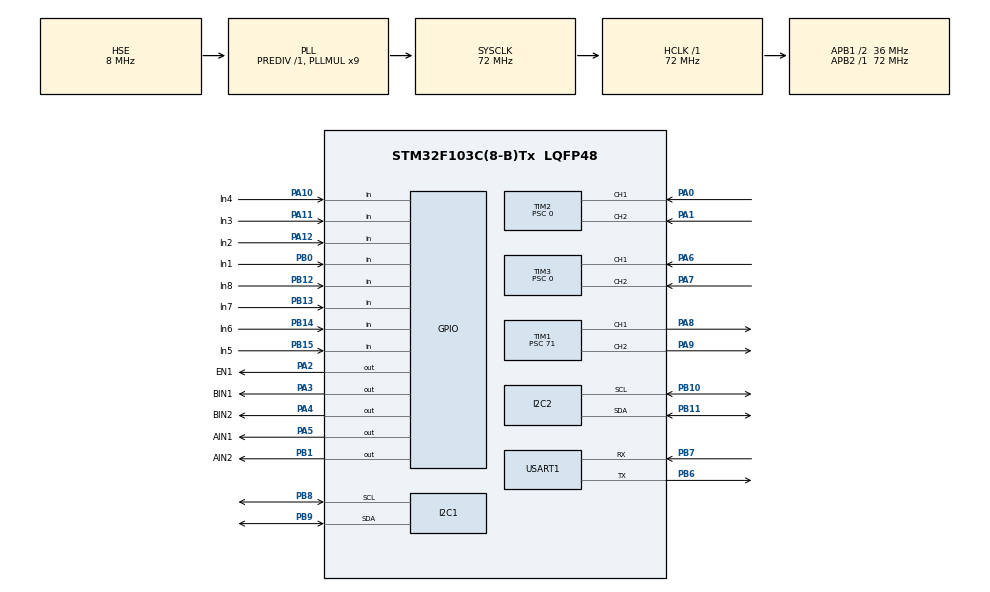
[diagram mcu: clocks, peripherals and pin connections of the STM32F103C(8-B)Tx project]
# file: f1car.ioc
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Mcu.Family=STM32F1
Mcu.Name=STM32F103C(8-B)Tx
Mcu.Package=LQFP48
NVIC.PriorityGroup=NVIC_PRIORITYGROUP_4
NVIC.TIM4_IRQn=true\:0\:0\:false\:false\:true\:true\:true\:true
PA0-WKUP.Signal=S_TIM2_CH1_ETR
PA1.Signal=S_TIM2_CH2
PA10.GPIO_Label=In4
PA10.GPIO_PuPd=GPIO_PULLUP
PA10.Signal=GPIO_Input
PA11.GPIO_Label=In3
PA11.GPIO_PuPd=GPIO_PULLUP
PA11.Signal=GPIO_Input
PA12.GPIO_Label=In2
PA12.GPIO_PuPd=GPIO_PULLUP
PA12.Signal=GPIO_Input
PA13.Mode=Serial_Wire
PA13.Signal=SYS_JTMS-SWDIO
PA14.Mode=Serial_Wire
PA14.Signal=SYS_JTCK-SWCLK
PA2.GPIO_Label=EN1
PA2.GPIO_PuPd=GPIO_PULLDOWN
PA2.Signal=GPIO_Output
PA3.GPIO_Label=BIN1
PA3.Signal=GPIO_Output
PA4.GPIO_Label=BIN2
PA4.Signal=GPIO_Output
PA5.GPIO_Label=AIN1
PA5.Signal=GPIO_Output
PA6.Signal=S_TIM3_CH1
PA7.Signal=S_TIM3_CH2
PA8.Signal=S_TIM1_CH1
PA9.Signal=S_TIM1_CH2
PB0.GPIO_Label=In1
PB0.GPIO_PuPd=GPIO_PULLUP
PB0.Signal=GPIO_Input
PB1.GPIO_Label=AIN2
PB1.Signal=GPIO_Output
PB10.Mode=I2C
PB10.Signal=I2C2_SCL
PB11.Mode=I2C
PB11.Signal=I2C2_SDA
PB12.GPIO_Label=In8
PB12.GPIO_PuPd=GPIO_PULLUP
PB12.Signal=GPIO_Input
PB13.GPIO_Label=In7
PB13.GPIO_PuPd=GPIO_PULLUP
PB13.Signal=GPIO_Input
PB14.GPIO_Label=In6
PB14.GPIO_PuPd=GPIO_PULLUP
PB14.Signal=GPIO_Input
PB15.GPIO_Label=In5
PB15.GPIO_PuPd=GPIO_PULLUP
PB15.Signal=GPIO_Input
PB6.Mode=Asynchronous
PB6.Signal=USART1_TX
PB7.Mode=Asynchronous
PB7.Signal=USART1_RX
PB8.Mode=I2C
PB8.Signal=I2C1_SCL
PB9.Mode=I2C
PB9.Signal=I2C1_SDA
PD0-OSC_IN.Mode=HSE-External-Oscillator
PD0-OSC_IN.Signal=RCC_OSC_IN
PD1-OSC_OUT.Mode=HSE-External-Oscillator
PD1-OSC_OUT.Signal=RCC_OSC_OUT
ProjectManager.HeapSize=0x200
ProjectManager.StackSize=0x400
ProjectManager.TargetToolchain=MDK-ARM V5.32
RCC.AHBFreq_Value=72000000
RCC.APB1CLKDivider=RCC_HCLK_DIV2
RCC.APB1Freq_Value=36000000
RCC.APB1TimFreq_Value=72000000
RCC.APB2Freq_Value=72000000
RCC.APB2TimFreq_Value=72000000
RCC.HCLKFreq_Value=72000000
RCC.PLLMUL=RCC_PLL_MUL9
RCC.PLLSourceVirtual=RCC_PLLSOURCE_HSE
RCC.SYSCLKFreq_VALUE=72000000
RCC.SYSCLKSource=RCC_SYSCLKSOURCE_PLLCLK
RCC.USBFreq_Value=72000000
SH.S_TIM1_CH1.0=TIM1_CH1,PWM Generation1 CH1
SH.S_TIM1_CH2.0=TIM1_CH2,PWM Generation2 CH2
SH.S_TIM2_CH1_ETR.0=TIM2_CH1,Encoder_Interface
SH.S_TIM2_CH2.0=TIM2_CH2,Encoder_Interface
SH.S_TIM3_CH1.0=TIM3_CH1,Encoder_Interface
SH.S_TIM3_CH2.0=TIM3_CH2,Encoder_Interface
TIM1.AutoReloadPreload=TIM_AUTORELOAD_PRELOAD_ENABLE
TIM1.Channel-PWM\ Generation1\ CH1=TIM_CHANNEL_1
TIM1.Channel-PWM\ Generation2\ CH2=TIM_CHANNEL_2
TIM1.Period=1000
TIM1.Prescaler=71
TIM2.AutoReloadPreload=TIM_AUTORELOAD_PRELOAD_ENABLE
TIM2.EncoderMode=TIM_ENCODERMODE_TI12
TIM2.IC1Filter=10
TIM2.IC2Filter=10
TIM2.IC2Polarity=TIM_ICPOLARITY_FALLING
TIM2.Prescaler=0
TIM3.AutoReloadPreload=TIM_AUTORELOAD_PRELOAD_ENABLE
TIM3.EncoderMode=TIM_ENCODERMODE_TI12
TIM3.IC1Filter=10
TIM3.IC2Filter=10
TIM3.IC2Polarity=TIM_ICPOLARITY_FALLING
TIM3.Prescaler=0
TIM4.AutoReloadPreload=TIM_AUTORELOAD_PRELOAD_ENABLE
TIM4.Period=10000
TIM4.Prescaler=71
USART1.VirtualMode=VM_ASYNC
VP_TIM1_VS_ClockSourceINT.Mode=Internal
VP_TIM4_VS_ClockSourceINT.Mode=Internal
board=custom

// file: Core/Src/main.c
/* USER CODE BEGIN Header */
/**
  ******************************************************************************
  * @file           : main.c
  * @brief          : Main program body
  ******************************************************************************
  * @attention
  *
  * Copyright (c) 2026 STMicroelectronics.
  * All rights reserved.
  *
  * This software is licensed under terms that can be found in the LICENSE file
  * in the root directory of this software component.
  * If no LICENSE file comes with this software, it is provided AS-IS.
  *
  ******************************************************************************
  */
/* USER CODE END Header */
#include "main.h"
#include "i2c.h"
#include "tim.h"
#include "usart.h"
#include "gpio.h"

/* USER CODE BEGIN Includes */
#include "math.h"
#include "stdio.h"
#include "string.h"
/* USER CODE END Includes */

/* USER CODE BEGIN PTD */
typedef struct {
    uint16_t current_count;
    uint16_t last_count;
    int32_t pulse_diff;      //()这个是 可能为负数，所以用int32_t
    float speed_m_s_new;
    float speed_m_s_Filtered;
} EncoderData;

EncoderData Encode_speed_left;
EncoderData Encode_speed_right;

typedef struct {
		uint8_t r_f;
		uint8_t l_r;
		uint16_t target_speed;
}MOTOR;

MOTOR motor;

typedef struct {
    // --- 参数 (需要初始化) ---
    float Kp;           // 比例系数
    float Ki;           // 积分系数
    float Kd;           // 微分系数

    float limit_max;    // 输出最大限幅 (如: 100或PWM最大值)
    float limit_min;    // 输出最小限幅 (如: -100或0)

    float dead_zone;    // 死区阈值 (误差在这个范围内视为0)
    float integral_max; // 积分限幅 (防积分饱和 Anti-windup)

    // --- 状态 (运行时变化) ---
    float prev_error;   // 上一次的误差
    float integral;     // 累积积分值

} PID_Handle;

PID_Handle motor_pid_left;
PID_Handle motor_pid_right;
PID_Handle motor_sensor_pid;

// 定义传感器引脚结构体，方便修改
typedef struct {
    GPIO_TypeDef* port;
    uint16_t pin;
} SensorPin;

// 这里填入你实际的引脚连接，从左(Sensor 0)到右(Sensor 7)
// 例如：Sensor 0 接 PA0, Sensor 1 接 PB5 ...
SensorPin sensors[8] = {
    {GPIOB, GPIO_PIN_12}, // Sensor 1 (最右)
    {GPIOB, GPIO_PIN_13}, // Sensor 2
    {GPIOB, GPIO_PIN_14}, // Sensor 3
    {GPIOB, GPIO_PIN_15}, // Sensor 4
    {GPIOA, GPIO_PIN_10}, // Sensor 5
    {GPIOA, GPIO_PIN_11}, // Sensor 6
    {GPIOA, GPIO_PIN_12}, // Sensor 7
    {GPIOB, GPIO_PIN_0}  // Sensor 8 (最左)
};
/* USER CODE END PTD */

/* USER CODE BEGIN PD */
// 定义参数 (可以根据实际情况微调)
#define MAX_SPEED       0.25f   // 直道最快速度 (可以稍微快点)
#define MIN_SPEED       0.20f   // 弯道最慢速度 (一定要够慢，保证能转过来)
#define BRAKE_SENSITIVITY 0.8f  // 刹车灵敏度：数值越大，转弯时减速越狠 (建议 0.8 ~ 1.5)

#define PI 3.14159265358979323846

/*****************/
// 电机参数
#define ENCODER_LINES    13      // 编码器线数
#define GEAR_RATIO       20      // 减速比是20
#define FILTER_ALPHA     0.2f // 滤波系数
#define ENCODER_MODE    4.0f    // 你现在用的是2倍频

/*****************/
// 轮子半径 (mm)
#define WHEEL_RADIUS    24.0f
// 一圈车轮的总脉冲数 (理论值)
// 公式: 13 * 20 * 4 = 1040
#define COUNTS_PER_REV  (ENCODER_LINES * GEAR_RATIO * ENCODER_MODE)
// 采样时间 (秒) - 对应你的 10ms 中断
#define DT              0.01f
/*****************/
//电机最快速度为0~0.8米每秒
//但是我的电机转一圈要40个数，编码器模式下滤波13。要40个数才能转一圈，记录一下以防忘记
//还有循迹模块读取黑线是低电平
/*****************/
/* USER CODE END PD */

/* USER CODE BEGIN PV */

// 串口发送缓冲区
char tx_buffer[64];
float a,b,c,d;

uint16_t cnt_2 = 0;
uint32_t cnt_3 = 0;

volatile float speed_right;
volatile float speed_left;

//float base_speed_target = 0.3f; // 目标速度 (m/s)
//float motor_target_speed = 0.4f; // 电机目标速度 (m/s)

float track_error = 0;// 循迹偏差值
float turn_output = 0;// 转向 PID 输出

float last_valid_error = 0.0f; // 上一次有效的循迹偏差值
/* USER CODE END PV */

void SystemClock_Config(void);
/* USER CODE BEGIN PFP */
void set_motor(uint8_t l_r,uint8_t r_f,uint16_t motor_speed);
void ALL_Init(void);
float PID_Compute(PID_Handle *pid, float target, float measured);
/* USER CODE END PFP */

/* USER CODE BEGIN 0 */
void Send_Encoder_Data(void)
{
    int len = sprintf(tx_buffer, "%f,%f\n",a,b);//sprintf的返回值是int类型，返回字节数

    // ✅ 使用非阻塞发送，或设置合理的超时
    HAL_UART_Transmit(&huart1, (uint8_t*)tx_buffer, len, 100);
}
// void motor_left(uint16_t target,uint32_t encode_speed_1,uint32_t encode_speed_2)//encode是编码器计算后的速度
// {
// 	set_motor(0,0,PID_Compute(&motor_pid,target,encode_speed_1));
// 	set_motor(1,1,PID_Compute(&motor_pid,target,encode_speed_2));
// }

/**
 * @brief 高效读取8路传感器状态
 * @return uint8_t: 8位数据，1代表黑线，0代表白地
 * Bit7对应Sensor0(左), Bit0对应Sensor7(右)
 */
uint8_t Read_8_Sensors_Fast(void) {
    uint8_t sensor_byte = 0;

    // 循环展开或直接硬编码是最高效的，为了可读性写成循环，编译器开O2优化后是一样的
    for(int i = 0; i < 8; i++) {
        // 直接读取寄存器 IDR (Input Data Register)
        // (sensors[i].port->IDR & sensors[i].pin) 用于判断引脚电平
        // 只有当 IDR & pin 结果为 0 (低电平/黑线) 时，才把这一位置 1
        // 使用 "!" 取反，或者用 "== 0"
        if ((sensors[i].port->IDR & sensors[i].pin) == 0) {
            // 如果检测到低电平(低电平是黑线)，把对应位置 1
            // 我们希望 Sensor0 对应最高位 (0x80)，Sensor7 对应最低位 (0x01)
            sensor_byte |= (1 << (7 - i));
        }
    }
    return sensor_byte;
}

/**
 * @brief 计算循迹偏差值
 * @param sensor_data: 8位数据，每一位代表一个传感器状态 (0或1)
 * @return float: 偏差值 Error，范围在 -4.0 到 4.0 之间。0 表示正中心。
 */
float Get_Track_Error(uint8_t sensor_data) {
    // 传感器权重数组：从左到右
    float weights[8] = {-4.0f, -3.0f, -2.0f, -1.0f, 1.0f, 2.0f, 3.0f, 4.0f};

    float sum_weighted_values = 0;
    int active_count = 0;

    for (int i = 0; i < 8; i++) {
        // 检查第 i 位是否为 1 (假设 sensor_data 从高位到低位对应从左到右)
        if ((sensor_data >> (7 - i)) & 0x01) {
            sum_weighted_values += weights[i];
            active_count++;
        }
    }

		// 特殊处理：如果只有最外侧传感器触发 (假设 0x80 是左边缘，0x01 是右边缘)
    if (sensor_data == 0x80) return -6.0f; // 强制给一个超大偏差
    if (sensor_data == 0x01) return 6.0f;  // 强制给一个超大偏差

// 如果没有任何传感器检测到黑线
    if (active_count == 0) {
        // 既然是直角弯容易冲出去，说明之前的偏差已经很大了
        // 我们不仅要维持方向，还要加大力度
        if (last_valid_error > 0) return 8.0f;  // 极大值，迫使内侧轮反转
        else return -8.0f;
    }
    float current_error = sum_weighted_values / active_count;

    // 【改进】更新最后一次有效的偏差
    last_valid_error = current_error;

    return current_error;
}

// 这里的 * 表示接收的是“真身”的地址
float encode_to_speed(EncoderData *motor_encoder_x, TIM_TypeDef* TIMx)
{
    // 1. 读取当前的 CNT
    motor_encoder_x->current_count = TIMx->CNT;

    // 2. 这里的 last_count 是真身里的值，是 10ms 前保存的
    int32_t pulse_diff = (int16_t)(motor_encoder_x->current_count - motor_encoder_x->last_count);

    // 3. 计算速度 (保留你的公式逻辑)
    // 注意：把 calculation 拆开写更清晰，防止漏括号
    float distance = (float)pulse_diff / 1040.0f * (2.0f * PI * 24.0f); // mm
    motor_encoder_x->speed_m_s_new = distance / 0.01f / 1000.0f; // m/s (注意变量名虽然叫rpm但你算的是m/s)

    // 4. 【核心】更新真身的 last_count，这样下一次进来才能算对！
    motor_encoder_x->last_count = motor_encoder_x->current_count;

    // 5. 滤波
    motor_encoder_x->speed_m_s_Filtered = (motor_encoder_x->speed_m_s_new * FILTER_ALPHA) +
                                  (motor_encoder_x->speed_m_s_Filtered * (1.0f - FILTER_ALPHA));

    return motor_encoder_x->speed_m_s_Filtered;
}

/**
 * @brief 设置电机速度
 * @param l_r是选择轮子左右（1是右0是左边）
 * @param r_f是选择轮子正反转（1是正转0是反转）
 * @param motor_speed: 电机速度值 (0~1000)
 */
void set_motor(uint8_t l_r,uint8_t r_f,uint16_t motor_speed)
{
	switch(r_f)
	{
		case 1:
		{
			if(l_r == 1)//右边轮子正转
			{
			HAL_GPIO_WritePin(GPIOA,GPIO_PIN_3,GPIO_PIN_SET);
			HAL_GPIO_WritePin(GPIOA,GPIO_PIN_4,GPIO_PIN_RESET);
			}else
			{//左边轮子正转
				HAL_GPIO_WritePin(GPIOA,GPIO_PIN_5,GPIO_PIN_SET);
				HAL_GPIO_WritePin(GPIOB,GPIO_PIN_1,GPIO_PIN_RESET);
			}
		}break;
		case 0:
		{
			if(l_r == 1)//右边轮子反转
			{
			HAL_GPIO_WritePin(GPIOA,GPIO_PIN_3,GPIO_PIN_RESET);
			HAL_GPIO_WritePin(GPIOA,GPIO_PIN_4,GPIO_PIN_SET);
			}else
			{//左边轮子反转
				HAL_GPIO_WritePin(GPIOA,GPIO_PIN_5,GPIO_PIN_RESET);
				HAL_GPIO_WritePin(GPIOB,GPIO_PIN_1,GPIO_PIN_SET);
			}
		}break;
	}
	if(l_r == 1)
		__HAL_TIM_SET_COMPARE(&htim1, TIM_CHANNEL_1, motor_speed);
	else
		__HAL_TIM_SET_COMPARE(&htim1, TIM_CHANNEL_2, motor_speed);
}

void PID_Init(void)

{

/*****************************************************************************
 *                             电机 PID 参数初始化
 * *****************************************************************************/
    motor_pid_left.Kp = 1000.0f;
    motor_pid_left.Ki = 200.0f;
    motor_pid_left.Kd = 0.0f;

    motor_pid_left.limit_max = 1000.0f;   // 输出最大 +1000
    motor_pid_left.limit_min = -1000.0f;  // 输出最小 -1000
	motor_pid_left.integral_max = 5.0f;

    motor_pid_left.prev_error = 0.0f;    // 状态清零
    motor_pid_left.integral = 0.0f;
    motor_pid_right = motor_pid_left; // 右轮参数相结构体整体赋值
/*****************************************************************************
 *                              循迹 PID 参数初始化
*****************************************************************************/
    // 注意：循迹 PID 的参数通常很小，因为 error 范围是 -4 到 4，而速度微调量通常在 0.1~0.5 之间
    motor_sensor_pid.Kp = 0.1f;  // 经验值，需调试：代表偏离1个单位，一侧轮子加速0.05m/s
    motor_sensor_pid.Ki = 0.0f;  // 循迹通常不需要 I，或者给极小
    motor_sensor_pid.Kd = 0.2f;  // D大一点，为了微分先行，抑制过冲

    motor_sensor_pid.limit_max = 100.0f;  // 限制最大转向幅度，别让轮子倒转太猛  好像0.8是最大限制了是吧
    motor_sensor_pid.limit_min = -100.0f;

    motor_sensor_pid.prev_error = 0.0f;
    motor_sensor_pid.integral = 0.0f;
}

/**
 * @brief 计算 PID 输出
 * @param pid: 指向 PID_Handle 结构体的指针
 * @param target: 目标值 (Setpoint)
 * @param measured: 测量值 (Process Variable)
 * @return float: PID 输出值
 */
float PID_Compute(PID_Handle *pid, float target, float measured) {
    float output;

    // 1. 计算误差
    float error = target - measured;

    // 3. 积分项计算 (Integral) & 积分限幅 (Anti-windup)
    pid->integral += error;

    // 限制积分项的累积，防止长时间偏差导致积分过大（积分饱和）
    if (pid->integral > pid->integral_max) {
        pid->integral = pid->integral_max;
    } else if (pid->integral < -pid->integral_max) {
        pid->integral = -pid->integral_max;
    }

    // 4. 微分项计算 (Derivative)
   float derivative = error - pid->prev_error;
		// //尝试一些微分先行    这个不行
    // error = measured;
		// float derivative = error - pid->prev_error;

    // 5. PID 公式总和
    // Output = P*error + I*integral + D*(error - prev_error)
    output = (pid->Kp * error) +
             (pid->Ki * pid->integral) +
             (pid->Kd * derivative);

    // 6. 更新上一次误差
   pid->prev_error = error;
		// pid->prev_error = measured;
		//    // 7. 输出限幅 (Output Limiting)        这个也用不到，pwm输出最大也就1000
//    // 确保输出不超过执行器允许的范围
//    if (output > pid->limit_max) {
//        output = pid->limit_max;
//    } else if (output < pid->limit_min) {
//        output = pid->limit_min;
//    }

    return output;
}

void ALL_Init(void)
{
	HAL_TIM_Encoder_Start(&htim2,TIM_CHANNEL_ALL);
	HAL_TIM_Encoder_Start(&htim3,TIM_CHANNEL_ALL);

  HAL_TIM_Base_Start(&htim1);  // PWM定时器

  HAL_TIM_PWM_Start(&htim1, TIM_CHANNEL_1);//MOTOR A
	HAL_TIM_PWM_Start(&htim1, TIM_CHANNEL_2);//MOTOR B

	HAL_GPIO_WritePin(GPIOA,GPIO_PIN_2,GPIO_PIN_SET);//使能电机

  HAL_TIM_Base_Start_IT(&htim4); // 启动定时器中断，用于速度计算
}

void test_encode_speed(void)
{
    //这个抢pid的控制了
//     set_motor(0,1,1000);
//		 set_motor(1,1,1000);
    //测试的时候一个一个的测试，如果读数反了的话就把编码器的线调换一下
    // a = encode_to_speed(&Encode_speed_left,TIM3);
   a = speed_right;
		Send_Encoder_Data();
		HAL_Delay(100);
}

// 通用电机执行函数：自动处理 PID 输出的正负号
// motor_id: 0=左, 1=右
// pid_out: PID 计算出的结果 (有正负)
void Motor_Apply_PID(uint8_t motor_id, float pid_out)
{
    uint8_t direction;
    uint16_t pwm_val;
    // 1. 判断方向
    if (pid_out >= 0) {
        direction = 1; // 正转 (根据你的硬件实际情况修改 1 或 0)
        pwm_val = (uint16_t)pid_out;
    } else {
        direction = 0; // 反转
        // 取绝对值 (因为 set_motor 只认正数 PWM)
        pwm_val = (uint16_t)(-pid_out);
    }

    // 2. 驱动电机
    set_motor(motor_id, direction, pwm_val);
}
/* USER CODE END 0 */

int main(void)
{

  /* MCU Configuration--------------------------------------------------------*/

  /* Reset of all peripherals, Initializes the Flash interface and the Systick. */
  HAL_Init();

  /* Configure the system clock */
  SystemClock_Config();

  /* Initialize all configured peripherals */
  MX_GPIO_Init();
  MX_TIM1_Init();
  MX_TIM2_Init();
  MX_USART1_UART_Init();
  MX_I2C1_Init();
  MX_I2C2_Init();
  MX_TIM3_Init();
  MX_TIM4_Init();

  /* Infinite loop */
  /* USER CODE BEGIN WHILE */
	//启动编码器
	ALL_Init();
  PID_Init();
  while (1)
  {
//    a = speed_right;
//    b = speed_left;
//    test_encode_speed();
    /* USER CODE END WHILE */

  }
}

void SystemClock_Config(void)
{
  RCC_OscInitTypeDef RCC_OscInitStruct = {0};
  RCC_ClkInitTypeDef RCC_ClkInitStruct = {0};

  /** Initializes the RCC Oscillators according to the specified parameters
  * in the RCC_OscInitTypeDef structure.
  */
  RCC_OscInitStruct.OscillatorType = RCC_OSCILLATORTYPE_HSE;
  RCC_OscInitStruct.HSEState = RCC_HSE_ON;
  RCC_OscInitStruct.HSEPredivValue = RCC_HSE_PREDIV_DIV1;
  RCC_OscInitStruct.HSIState = RCC_HSI_ON;
  RCC_OscInitStruct.PLL.PLLState = RCC_PLL_ON;
  RCC_OscInitStruct.PLL.PLLSource = RCC_PLLSOURCE_HSE;
  RCC_OscInitStruct.PLL.PLLMUL = RCC_PLL_MUL9;
  if (HAL_RCC_OscConfig(&RCC_OscInitStruct) != HAL_OK)
  {
    Error_Handler();
  }

  /** Initializes the CPU, AHB and APB buses clocks
  */
  RCC_ClkInitStruct.ClockType = RCC_CLOCKTYPE_HCLK|RCC_CLOCKTYPE_SYSCLK
                              |RCC_CLOCKTYPE_PCLK1|RCC_CLOCKTYPE_PCLK2;
  RCC_ClkInitStruct.SYSCLKSource = RCC_SYSCLKSOURCE_PLLCLK;
  RCC_ClkInitStruct.AHBCLKDivider = RCC_SYSCLK_DIV1;
  RCC_ClkInitStruct.APB1CLKDivider = RCC_HCLK_DIV2;
  RCC_ClkInitStruct.APB2CLKDivider = RCC_HCLK_DIV1;

  if (HAL_RCC_ClockConfig(&RCC_ClkInitStruct, FLASH_LATENCY_2) != HAL_OK)
  {
    Error_Handler();
  }
}

/* USER CODE BEGIN 4 */
void HAL_TIM_PeriodElapsedCallback(TIM_HandleTypeDef *htim)
{
  if(htim->Instance == TIM4) // 10ms中断
  {
    // --- 1. 读取数据 ---
    speed_right = encode_to_speed(&Encode_speed_right, TIM2);
    speed_left  = encode_to_speed(&Encode_speed_left, TIM3);

    uint8_t sensor_data = Read_8_Sensors_Fast();
    track_error = Get_Track_Error(sensor_data);

    // --- 2. 计算转向 PID ---
    turn_output = PID_Compute(&motor_sensor_pid, 0.0f, track_error);

    // --- 3. 【核心大招】动态计算基础速度 (Dynamic Speed) ---
    // 逻辑：直道快跑，弯道慢跑
    float dynamic_base_speed = MAX_SPEED;
//
    // 取转向输出的绝对值
    float abs_turn = (turn_output > 0) ? turn_output : -turn_output;

    // 核心公式：基础速度 = 最大速度 - (转向幅度 * 系数)
    dynamic_base_speed = MAX_SPEED - (abs_turn * BRAKE_SENSITIVITY);

//    // 守底线：速度不能低于最小值，防止停在弯道
//    if (dynamic_base_speed < MIN_SPEED) {
//        dynamic_base_speed = MIN_SPEED;
//    }

    // --- 4. 融合速度 (允许内侧轮反转) ---
    // 左轮 = 基础 + 转向
    // 右轮 = 基础 - 转向
    float target_speed_left  = dynamic_base_speed + turn_output;
    float target_speed_right = dynamic_base_speed - turn_output;

    // --- 5. 执行输出 ---
    // 这里的 PID 计算和 Apply 函数保持不变
    float out_left  = PID_Compute(&motor_pid_left,  target_speed_left,  speed_left);
    float out_right = PID_Compute(&motor_pid_right, target_speed_right, speed_right);

    Motor_Apply_PID(0, out_left);  // 左轮
    Motor_Apply_PID(1, out_right); // 右轮
  }
}
/* USER CODE END 4 */

void Error_Handler(void)
{
  __disable_irq();
  while (1)
  {
  }
}
